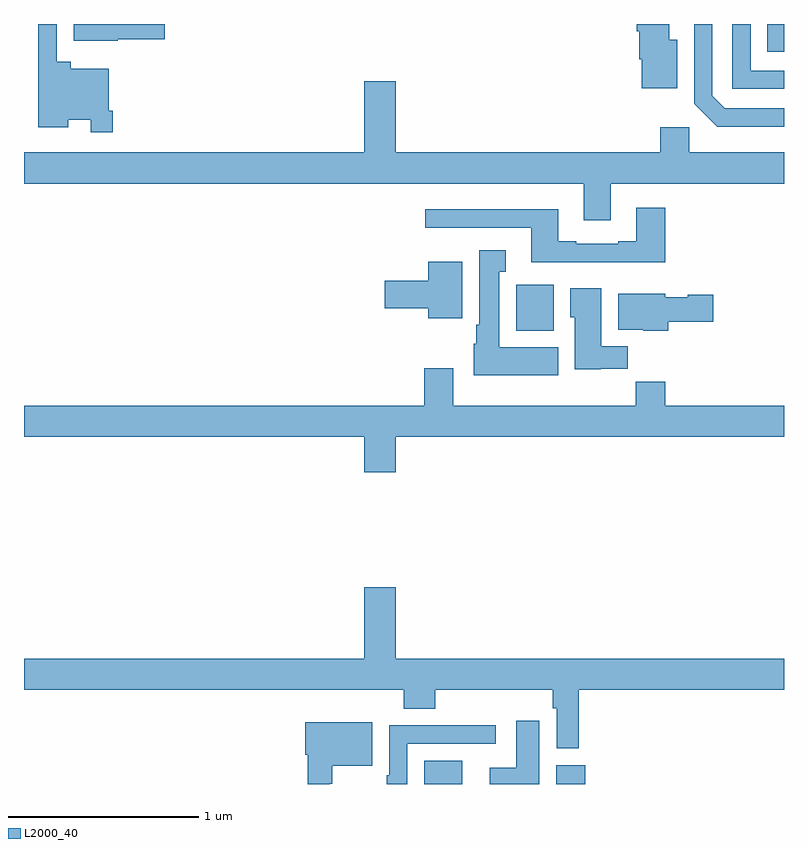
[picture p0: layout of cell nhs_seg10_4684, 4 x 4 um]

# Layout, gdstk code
import gdstk
lib = gdstk.Library(unit=1e-6, precision=1e-09)
def R(c, l, rs):  # rectangles x0, y0, x1, y1
    for r in rs: c.add(gdstk.rectangle(r[:2], r[2:], *l))
def P(c, l, *ps):  # polygons
    for p in ps: c.add(gdstk.Polygon(p, *l))
L2000_40 = (2000, 40)

nhs_seg10_4684 = lib.new_cell('nhs_seg10_4684')
R(nhs_seg10_4684, L2000_40, [(381.107,1286.5,381.307,1286.623), (381.8,1286.5,381.953,1286.599), (381.59,1288.886,381.787,1289.128), (382.913,1290.353,383,1290.5)])
P(nhs_seg10_4684, L2000_40, [(383,1290.255),(382.824,1290.255),(382.824,1290.5),(382.728,1290.5),(382.728,1290.159),(383,1290.159)],
  [(382.438,1290.418),(382.396,1290.418),(382.396,1290.5),(382.226,1290.5),(382.226,1290.462),(382.238,1290.462),(382.238,1290.314),(382.25,1290.314),(382.25,1290.161),(382.438,1290.161)],
  [(379.494,1290.419),(379.741,1290.419),(379.741,1290.5),(379.262,1290.5),(379.262,1290.413),(379.494,1290.413)],
  [(383,1290.057),(382.689,1290.057),(382.623,1290.123),(382.623,1290.5),(382.527,1290.5),(382.527,1290.081),(382.648,1289.96),(383,1289.96)],
  [(379.466,1290.043),(379.446,1290.043),(379.446,1290.265),(379.247,1290.265),(379.247,1290.301),(379.173,1290.301),(379.173,1290.5),(379.076,1290.5),(379.076,1289.957),(379.234,1289.957),(379.234,1289.996),(379.35,1289.996),(379.35,1289.931),(379.466,1289.931)],
  [(382.087,1289.66),(383,1289.66),(383,1289.824),(382.5,1289.824),(382.5,1289.956),(382.349,1289.956),(382.349,1289.824),(380.956,1289.824),(380.956,1290.199),(380.792,1290.199),(380.792,1289.824),(379,1289.824),(379,1289.66),(381.947,1289.66),(381.947,1289.466),(382.087,1289.466)],
  [(382.376,1289.533),(382.223,1289.533),(382.223,1289.356),(382.127,1289.356),(382.127,1289.343),(381.907,1289.343),(381.907,1289.356),(381.811,1289.356),(381.811,1289.524),(381.111,1289.524),(381.111,1289.427),(381.671,1289.427),(381.671,1289.246),(382.376,1289.246)],
  [(381.811,1288.798),(381.502,1288.798),(381.502,1289.195),(381.535,1289.195),(381.535,1289.308),(381.395,1289.308),(381.395,1288.918),(381.38,1288.918),(381.38,1288.818),(381.368,1288.818),(381.368,1288.652),(381.811,1288.652)],
  [(381.307,1289.248),(381.128,1289.248),(381.128,1289.15),(380.898,1289.15),(380.898,1289.003),(381.128,1289.003),(381.128,1288.952),(381.307,1288.952)],
  [(382.035,1288.686),(382.178,1288.686),(382.178,1288.804),(382.039,1288.804),(382.039,1289.11),(381.875,1289.11),(381.875,1288.956),(381.899,1288.956),(381.899,1288.682),(382.035,1288.682)],
  [(382.391,1288.933),(382.627,1288.933),(382.627,1289.075),(382.494,1289.075),(382.494,1289.062),(382.374,1289.062),(382.374,1289.08),(382.127,1289.08),(382.127,1288.892),(382.26,1288.892),(382.26,1288.886),(382.391,1288.886)],
  [(380.956,1288.328),(383,1288.328),(383,1288.492),(382.376,1288.492),(382.376,1288.616),(382.219,1288.616),(382.219,1288.492),(381.259,1288.492),(381.259,1288.687),(381.107,1288.687),(381.107,1288.492),(379,1288.492),(379,1288.328),(380.792,1288.328),(380.792,1288.14),(380.956,1288.14)],
  [(381.92,1286.996),(383,1286.996),(383,1287.16),(380.956,1287.16),(380.956,1287.535),(380.792,1287.535),(380.792,1287.16),(379,1287.16),(379,1286.996),(380.999,1286.996),(380.999,1286.897),(381.164,1286.897),(381.164,1286.996),(381.784,1286.996),(381.784,1286.9),(381.804,1286.9),(381.804,1286.688),(381.92,1286.688)],
  [(381.712,1286.833),(381.59,1286.833),(381.59,1286.586),(381.452,1286.586),(381.452,1286.5),(381.712,1286.5)],
  [(380.61,1286.501),(380.623,1286.501),(380.623,1286.597),(380.833,1286.597),(380.833,1286.824),(380.48,1286.824),(380.48,1286.654),(380.494,1286.654),(380.494,1286.5),(380.61,1286.5)],
  [(381.018,1286.712),(381.484,1286.712),(381.484,1286.81),(381.247,1286.81),(381.247,1286.808),(380.922,1286.808),(380.922,1286.545),(380.91,1286.545),(380.91,1286.5),(381.018,1286.5)])

lib.write_gds('nhs_seg10_4684.gds')
